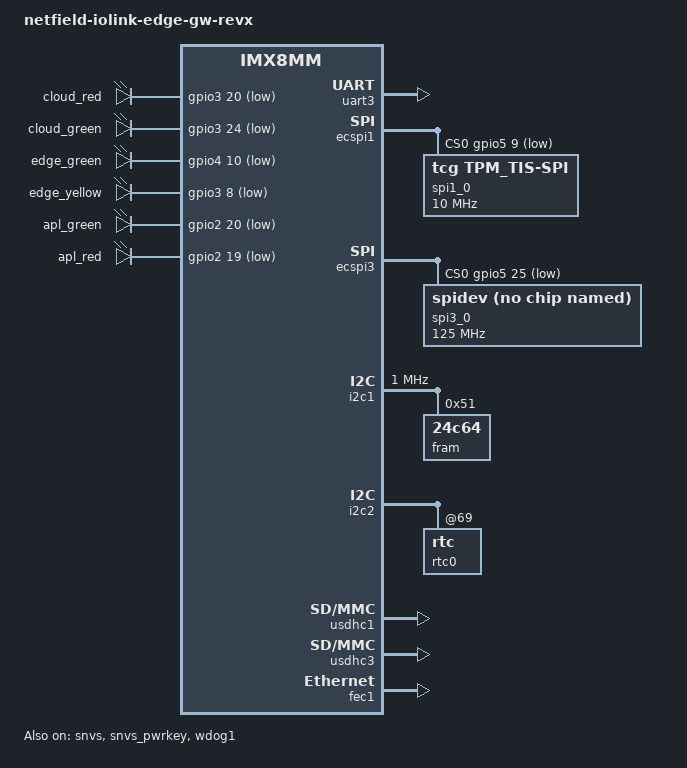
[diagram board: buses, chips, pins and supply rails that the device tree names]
#include "../compulab/ucm-imx8m-mini.dts"
#include "../freescale/imx8mm.dtsi"
#include "../freescale/imx8mm-pinfunc.h"

#include "pad_config.h"

/*
 * The pin function ID is a tuple of
 * <mux_reg conf_reg input_reg mux_mode input_val>
 */
#define MX8MM_IOMUXC_SAI3_TXC_UART2_DCE_TX           0x1DC 0x444 0x000 0x4 0x0
#define MX8MM_IOMUXC_SAI3_TXFS_UART2_DCE_RX          0x1D8 0x440 0x4fc 0x4 0x2
#define MX8MM_IOMUXC_SAI3_RXD_UART2_DCE_RTS_B        0x1D4 0x43C 0x4f8 0x4 0x3
#define MX8MM_IOMUXC_SAI3_RXC_UART2_DCE_CTS_B        0x1D0 0x438 0x000 0x4 0x0

/ {
	model = "netfield-iolink-edge-gw-revx";

	aliases {
		ethernet0 = &fec1;
		i2c0 = &i2c1;
		i2c1 = &i2c2;
		i2c2 = &i2c3;
		i2c3 = &i2c4;
		serial0 = &uart1;
		serial1 = &uart2;
		serial2 = &uart3;
		serial3 = &uart4;
		spi0 = &ecspi1;
		spi1 = &ecspi2;
		spi2 = &ecspi3;
		//mmc0 = &usdhc2; /* SD-Card */
		mmc1 = &usdhc3; /* eMMC */
		gpio0 = &gpio1;
		gpio1 = &gpio2;
		gpio2 = &gpio3;
		gpio3 = &gpio4;
		gpio4 = &gpio5;
		rtc0 = &rtc0;
		rtc1 = &snvs_rtc;
	};

	config {
		u-boot,led-test-duration = <1000>;
	};

	device_leds:device_leds {
		compatible = "gpio-leds";
		pinctrl-names = "default";
		pinctrl-0 = <&pinctrl_gpio_device_led>;

		cloud_red {
			label = "cloud_red";
			gpios = <&gpio3 20 GPIO_ACTIVE_LOW>;
			linux,default-trigger = "none";
			default-state = "off";
		};
		cloud_green {
			label = "cloud_green";
			gpios = <&gpio3 24 GPIO_ACTIVE_LOW>;
			linux,default-trigger = "none";
			default-state = "off";
		};
		edge_green {
			label = "edge_green";
			gpios = <&gpio4 10 GPIO_ACTIVE_LOW>;
			linux,default-trigger = "none";
			default-state = "off";
		};
		edge_yellow {
			label = "edge_yellow";
			gpios = <&gpio3 8 GPIO_ACTIVE_LOW>;
			linux,default-trigger = "none";
			default-state = "off";
		};
		apl_green {
			label = "apl_green";
			gpios = <&gpio2 20 GPIO_ACTIVE_LOW>;
			linux,default-trigger = "none";
			default-state = "off";
		};
		apl_red {
			label = "apl_red";
			gpios = <&gpio2 19 GPIO_ACTIVE_LOW>;
			linux,default-trigger = "none";
			default-state = "off";
		};
	};

	wlreg_on: wlregon-regulator {
		status = "okay";
		gpio = <&gpio2 10 GPIO_ACTIVE_HIGH>; // SOM internal
	};

	reg_usdhc2_vmmc: regulator-usdhc2 {
		status = "disabled";
		gpio = <&gpio2 19 GPIO_ACTIVE_HIGH>; // SD2_nRST
	};

	regulator-usdhc3rst {
		status = "okay";
		gpio = <&gpio3 16 GPIO_ACTIVE_HIGH>; // SOM internal
	};

	regulator-fec1rst {
		status = "disabled";
		gpio = <&gpio1 10 GPIO_ACTIVE_HIGH>; // USB1_ID
	};

	usdhc1_pwrseq: usdhc1_pwrseq {
		// NOTE: The compulab devicetree are faulty related to the node names. Fix these for usage!
		status = "okay";
		reset-gpios = <&gpio2 10 GPIO_ACTIVE_LOW>; // SOM internal
	};

	backlight {
		status = "disabled";
	};

};

&iomuxc {
	pinctrl-names = "default";
	pinctrl-0 = <&pinctrl_hog_1>;

	ucm-imx8m-mini {
		pinctrl_gpio_device_led: gpiodeviceledgrp {
			fsl,pins = <
				MX8MM_IOMUXC_SAI5_RXC_GPIO3_IO20     (PU|OD|DSEx6)
				MX8MM_IOMUXC_SAI5_RXD3_GPIO3_IO24    (PU|OD|DSEx6)
				MX8MM_IOMUXC_SAI1_TXFS_GPIO4_IO10    (PU|OD|DSEx6)
				MX8MM_IOMUXC_NAND_DATA02_GPIO3_IO8   (PU|OD|DSEx6)
				MX8MM_IOMUXC_SD2_WP_GPIO2_IO20       (PU|OD|DSEx6)
				MX8MM_IOMUXC_SD2_RESET_B_GPIO2_IO19  (PU|OD|DSEx6)
			>;
		};

		pinctrl_gpio1: gpio1grp {
			fsl,pins = <
				MX8MM_IOMUXC_GPIO1_IO11_GPIO1_IO11 (PD|IS) // PGOOD_3V3
				MX8MM_IOMUXC_GPIO1_IO08_GPIO1_IO8  (PD|IS) // TPM_IRQ#
				MX8MM_IOMUXC_GPIO1_IO13_GPIO1_IO13 (PU|IS) // TPM_GPIO
			>;
		};

//		pinctrl_gpio2: gpio2grp {
//			fsl,pins = <
//				// empty
//			>;
//		};

//		pinctrl_gpio3: gpio3grp {
//			fsl,pins = <
//				// empty
//			>;
//		};

//		pinctrl_gpio4: gpio4grp {
//			fsl,pins = <
//				// empty
//			>;
//		};

//		pinctrl_gpio5: gpio5grp {
//			fsl,pins = <
//				// empty
//			>;
//		};

		pinctrl_uart2: uart2grp {
			fsl,pins = <
				MX8MM_IOMUXC_SAI3_TXC_UART2_DCE_TX      (PU|FSR|DSEx1)
				MX8MM_IOMUXC_SAI3_TXFS_UART2_DCE_RX     (PU|FSR|DSEx1)
				MX8MM_IOMUXC_SAI3_RXD_UART2_DCE_RTS_B   (PU|FSR|DSEx1)
				MX8MM_IOMUXC_SAI3_RXC_UART2_DCE_CTS_B   (PU|FSR|DSEx1)
			>;
		};

		pinctrl_uart3: uart3grp {
			fsl,pins = <
				MX8MM_IOMUXC_UART3_RXD_UART3_DCE_RX     (PU|FSR|DSEx1)
				MX8MM_IOMUXC_UART3_TXD_UART3_DCE_TX     (PU|FSR|DSEx1)
			>;
		};

		pinctrl_ecspi1: ecspi1grp {
			fsl,pins = <
				MX8MM_IOMUXC_ECSPI1_SCLK_ECSPI1_SCLK  (PU|FSR|DSEx1)
				MX8MM_IOMUXC_ECSPI1_MOSI_ECSPI1_MOSI  (PU|FSR|DSEx1)
				MX8MM_IOMUXC_ECSPI1_MISO_ECSPI1_MISO  (PU|FSR|DSEx1)
				MX8MM_IOMUXC_ECSPI1_SS0_GPIO5_IO9     (PU|FSR|DSEx1)
			>;
		};

		pinctrl_ecspi3: ecspi3grp {
			fsl,pins = <
				MX8MM_IOMUXC_UART1_RXD_ECSPI3_SCLK    (PU|FSR|DSEx1)
				MX8MM_IOMUXC_UART1_TXD_ECSPI3_MOSI    (PU|FSR|DSEx1)
				MX8MM_IOMUXC_UART2_RXD_ECSPI3_MISO    (PU|FSR|DSEx1)
				MX8MM_IOMUXC_UART2_TXD_GPIO5_IO25     (PU|FSR|DSEx1)
			>;
		};

		pinctrl_i2c1: i2c1grp {
			fsl,pins = <
				MX8MM_IOMUXC_I2C1_SCL_I2C1_SCL                  0x400001c3
				MX8MM_IOMUXC_I2C1_SDA_I2C1_SDA                  0x400001c3
			>;
		};

		pinctrl_i2c4: i2c4grp {
			fsl,pins = <
				MX8MM_IOMUXC_I2C4_SCL_I2C4_SCL                  0x400001c3
				MX8MM_IOMUXC_I2C4_SDA_I2C4_SDA                  0x400001c3
			>;
		};
	};
};

&gpio1 {
	status = "okay";
	pinctrl-names = "default";
	pinctrl-0 = <&pinctrl_gpio1>;
	gpio-line-names =
		"N/C", "N/C", "N/C", "N/C", "N/C", "N/C", "N/C", "N/C", "TPM_IRQ#", "N/C",
		"N/C", "PGOOD_3V3", "N/C", "TPM_GPIO", "N/C", "N/C", "N/C", "N/C", "N/C", "N/C",
		"N/C", "N/C", "N/C", "N/C", "N/C", "N/C", "N/C", "N/C", "N/C", "N/C",
		"N/C", "N/C";
};

&gpio2 {
	status = "okay";
	pinctrl-names = "default";
//	pinctrl-0 = <&pinctrl_gpio2>;
	gpio-line-names =
		"N/C", "N/C", "N/C", "N/C", "N/C", "N/C", "N/C", "N/C", "N/C", "N/C",
		"N/C", "N/C", "N/C", "N/C", "N/C", "N/C", "N/C", "N/C", "N/C", "led-apl-red",
		"led-apl-green", "N/C", "N/C", "N/C", "N/C", "N/C", "N/C", "N/C", "N/C", "N/C",
		"N/C", "N/C";
};

&gpio3 {
	status = "okay";
	pinctrl-names = "default";
//	pinctrl-0 = <&pinctrl_gpio3>;
	gpio-line-names =
		"N/C", "N/C", "N/C", "N/C", "N/C", "N/C", "N/C", "N/C", "led-edge-yellow", "N/C",
		"N/C", "N/C", "N/C", "N/C", "N/C", "N/C", "N/C", "N/C", "N/C", "N/C",
		"led-cloud-red", "N/C", "N/C", "N/C", "led-cloud-green", "N/C", "N/C", "N/C", "N/C", "N/C",
		"N/C", "N/C";
};

&gpio4 {
	status = "okay";
	pinctrl-names = "default";
//	pinctrl-0 = <&pinctrl_gpio4>;
	gpio-line-names =
		"N/C", "N/C", "N/C", "N/C", "N/C", "N/C", "N/C", "N/C", "N/C", "N/C",
		"led-edge-green", "N/C", "N/C", "N/C", "N/C", "N/C", "N/C", "N/C", "N/C", "N/C",
		"N/C", "N/C", "N/C", "N/C", "N/C", "N/C", "N/C", "N/C", "N/C", "N/C",
		"N/C", "N/C";
};

&gpio5 {
	status = "okay";
	pinctrl-names = "default";
//	pinctrl-0 = <&pinctrl_gpio5>;
	gpio-line-names =
		"N/C", "N/C", "N/C", "N/C", "N/C", "N/C", "N/C", "N/C", "N/C", "N/C",
		"N/C", "N/C", "N/C", "N/C", "N/C", "N/C", "N/C", "N/C", "N/C", "N/C",
		"N/C", "N/C", "N/C", "N/C", "N/C", "N/C", "N/C", "N/C", "N/C", "N/C",
		"N/C", "N/C";
};

&uart1 {
	status = "disabled";
};

&uart2 { /* Prepared for Bluetooth */
	status = "disabled";
};

&uart3 { /* console for development only! */
	status = "okay";
};

&uart4 {
	status = "disabled";
};

&ecspi1 { /* TPM */
	status = "okay";
	pinctrl-names = "default";
	pinctrl-0 = <&pinctrl_ecspi1>;
	num-cs = <1>;

	cs-gpios = <
		&gpio5 9 GPIO_ACTIVE_LOW
	>;

	spi1_0: tpm@0 {
		compatible = "tcg,tpm_tis-spi", "infineon,slb9670";
		reg = <0>;
		spi-max-frequency = <10000000>;
	};
};

&ecspi2 {
	status = "disabled";
};

&ecspi3 { /* netX90 */
	status = "okay";
	pinctrl-names = "default";
	pinctrl-0 = <&pinctrl_ecspi3>;
	num-cs = <1>;

	cs-gpios = <
		&gpio5 25 GPIO_ACTIVE_LOW
	>;

	spi3_0: netx90_spm@0 {
		compatible = "spidev";
		reg = <0>;
		spi-max-frequency = <125000000>;
	};
};

&i2c1 {
	status = "okay";
	pinctrl-names = "default";
	pinctrl-0 = <&pinctrl_i2c1>;

	clock-frequency = <1000000>;

	fram@51 {
		compatible = "24c64";
		reg = <0x51>;
		pagesize = <1024>;
	};
};

&i2c2 { /* SOM: PMIC, RTC, EEprom*/
	status = "okay";

	rtc0: rtc@69 {
	};
};

&i2c3 {
	status = "disabled";
};

&i2c4 {
	status = "disabled";
};

&usdhc1 { /* SOM: WLAN/Bluetooth */
	status = "okay";
};

&usdhc2 {
	status = "disabled";
};

&usdhc3 { /* SOM: MMC */
	status = "okay";
};

&usbotg1 {
	status = "disabled";
};

&usbotg2 {
	status = "disabled";
};

&fec1 {
	status = "okay";
};

&ethphy0 {
	/delete-property/ at803x,eee-okay;
	at803x,eee-disabled;
};

&snvs {
	status = "okay";
};

&snvs_pwrkey {
	status = "okay";
};

&wdog1 {
	status = "okay";
};

&pcie0 {
	status = "disabled";
};

&sai1 {
	status = "disabled";
};

&sai2 {
	status = "disabled";
};

&sai3 {
	status = "disabled";
};

/* NOTE: sai4 is not defined by imx8mm.dtsi */
// &sai4 {
// 	status = "disabled";
// };

&sai5 {
	status = "disabled";
};

&sai6 {
	status = "disabled";
};

&lcdif {
	status = "disabled";
};

&pwm2 {
	status = "disabled";
};

&gpu {
	status = "disabled";
};

&vpu_g1 {
	status = "disabled";
};

&vpu_g2 {
	status = "disabled";
};

&vpu_h1 {
	status = "disabled";
};
